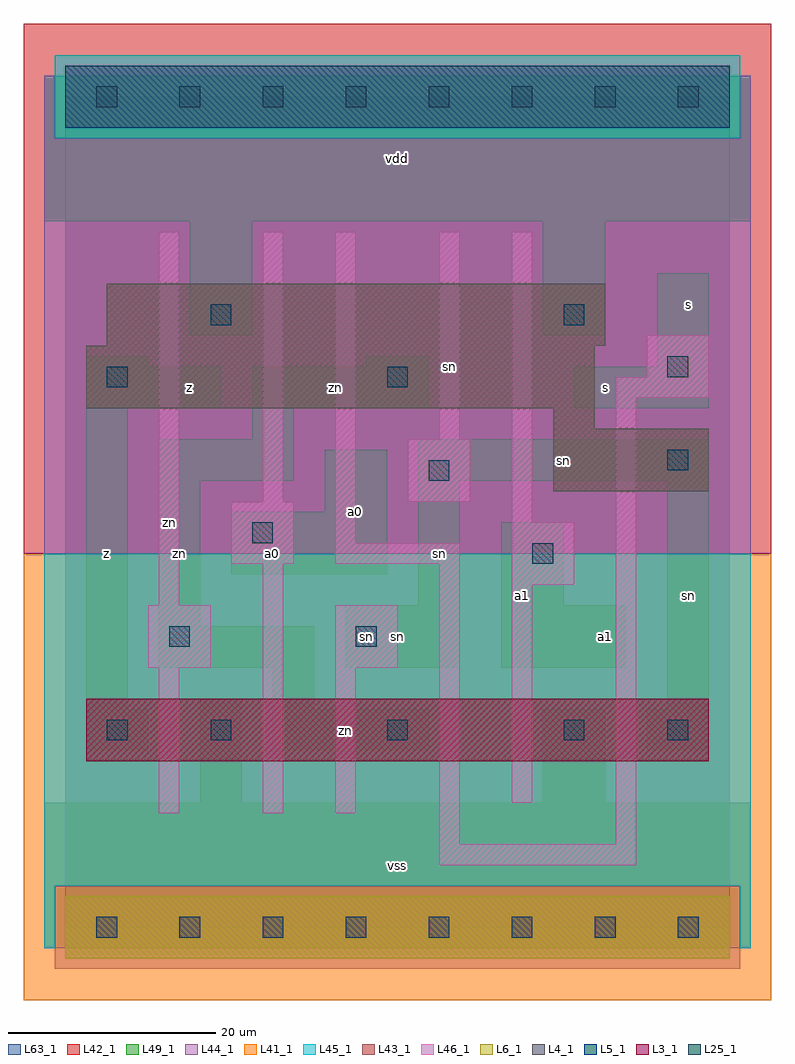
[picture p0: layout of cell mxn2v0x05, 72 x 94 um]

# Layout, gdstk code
import gdstk
lib = gdstk.Library(unit=1e-6, precision=1e-09)
def R(c, l, rs):  # rectangles x0, y0, x1, y1
    for r in rs: c.add(gdstk.rectangle(r[:2], r[2:], *l))
def A(c, l, x, y, w, h, nx, ny, dx, dy):  # array of equal rectangles
    R(c, l, [(x+i*dx, y+j*dy, x+i*dx+w, y+j*dy+h) for i in range(nx) for j in range(ny)])
L3_1 = (3, 1)
L4_1 = (4, 1)
L5_1 = (5, 1)
L6_1 = (6, 1)
L25_1 = (25, 1)
L41_1 = (41, 1)
L42_1 = (42, 1)
L43_1 = (43, 1)
L44_1 = (44, 1)
L45_1 = (45, 1)
L46_1 = (46, 1)
L49_1 = (49, 1)
L63_1 = (63, 1)

mxn2v0x05 = lib.new_cell('mxn2v0x05')
R(mxn2v0x05, L3_1, [(2,16,62,22)])
R(mxn2v0x05, L4_1, [(47,42,62,48), (47,48,51,50), (2,50,51,56), (4,56,52,62)])
R(mxn2v0x05, L5_1, [(0,77,64,83)])
R(mxn2v0x05, L6_1, [(0,-3,64,3), (0,-3,64,3)])
A(mxn2v0x05, L25_1, 3, -1, 2, 2, 8, 2, 8, 80)
A(mxn2v0x05, L25_1, 14, 18, 2, 2, 3, 1, 17, 0)
R(mxn2v0x05, L25_1, [(4,18,6,20), (58,18,60,20), (10,27,12,29), (28,27,30,29), (45,35,47,37), (18,37,20,39), (35,43,37,45), (58,44,60,46), (4,52,6,54), (31,52,33,54), (58,53,60,55), (14,58,16,60), (48,58,50,60)])
R(mxn2v0x05, L41_1, [(-4,-7,68,36)])
R(mxn2v0x05, L42_1, [(-4,36,68,87)])
R(mxn2v0x05, L43_1, [(0,-3,64,3), (2,16,62,22), (47,42,62,48), (47,48,51,50), (2,50,51,56), (4,56,52,62), (0,77,64,83)])
R(mxn2v0x05, L44_1, [(-1,-4,65,4), (-2,36,66,76), (-2,76,-1,82), (65,76,66,82)])
R(mxn2v0x05, L45_1, [(-2,-2,-1,4), (65,-2,66,4), (-2,4,66,36), (-1,76,65,84)])
R(mxn2v0x05, L46_1, [(36,6,55,8), (36,8,38,35), (53,8,55,51), (9,11,11,25), (19,11,21,35), (26,11,28,25), (43,12,45,33), (8,25,14,31), (26,25,32,31), (9,31,11,67), (43,33,49,39), (16,35,22,41), (26,35,38,37), (26,37,28,67), (43,39,45,67), (19,41,21,67), (33,41,39,47), (36,47,38,67), (53,51,62,53), (56,53,62,57)])
R(mxn2v0x05, L49_1, [(-2,-2,66,12), (13,12,17,22), (46,12,52,21), (2,17,8,21), (20,17,35,21), (56,17,62,21), (2,21,6,50), (20,21,24,25), (58,21,62,43), (9,25,24,29), (27,25,38,31), (42,25,54,31), (9,29,13,43), (34,31,38,43), (42,31,48,39), (16,34,31,40), (25,40,31,46), (9,43,22,47), (34,43,62,47), (18,47,22,50), (2,50,15,54), (18,50,35,54), (49,50,62,54), (2,54,8,55), (29,54,35,55), (57,54,62,63), (12,57,18,68), (46,57,52,68), (-2,68,66,82)])
R(mxn2v0x05, L63_1, [(0,0,64,80)])
mxn2v0x05.add(gdstk.Label('zn', (10,39), layer=46, texttype=1))
mxn2v0x05.add(gdstk.Label('sn', (29,28), layer=49, texttype=1))
mxn2v0x05.add(gdstk.Label('sn', (37,54), layer=46, texttype=1))
mxn2v0x05.add(gdstk.Label('z', (4,36), layer=49, texttype=1))
mxn2v0x05.add(gdstk.Label('zn', (11,36), layer=49, texttype=1))
mxn2v0x05.add(gdstk.Label('a0', (20,36), layer=49, texttype=1))
mxn2v0x05.add(gdstk.Label('z', (12,52), layer=49, texttype=1))
mxn2v0x05.add(gdstk.Label('vss', (32,6), layer=49, texttype=1))
mxn2v0x05.add(gdstk.Label('zn', (27,19), layer=49, texttype=1))
mxn2v0x05.add(gdstk.Label('sn', (36,36), layer=49, texttype=1))
mxn2v0x05.add(gdstk.Label('sn', (32,28), layer=49, texttype=1))
mxn2v0x05.add(gdstk.Label('a0', (28,40), layer=49, texttype=1))
mxn2v0x05.add(gdstk.Label('zn', (26,52), layer=49, texttype=1))
mxn2v0x05.add(gdstk.Label('vdd', (32,74), layer=49, texttype=1))
mxn2v0x05.add(gdstk.Label('a1', (44,32), layer=49, texttype=1))
mxn2v0x05.add(gdstk.Label('a1', (52,28), layer=49, texttype=1))
mxn2v0x05.add(gdstk.Label('sn', (60,32), layer=49, texttype=1))
mxn2v0x05.add(gdstk.Label('sn', (48,45), layer=49, texttype=1))
mxn2v0x05.add(gdstk.Label('s', (52,52), layer=49, texttype=1))
mxn2v0x05.add(gdstk.Label('s', (60,60), layer=49, texttype=1))

lib.write_gds('mxn2v0x05.gds')
